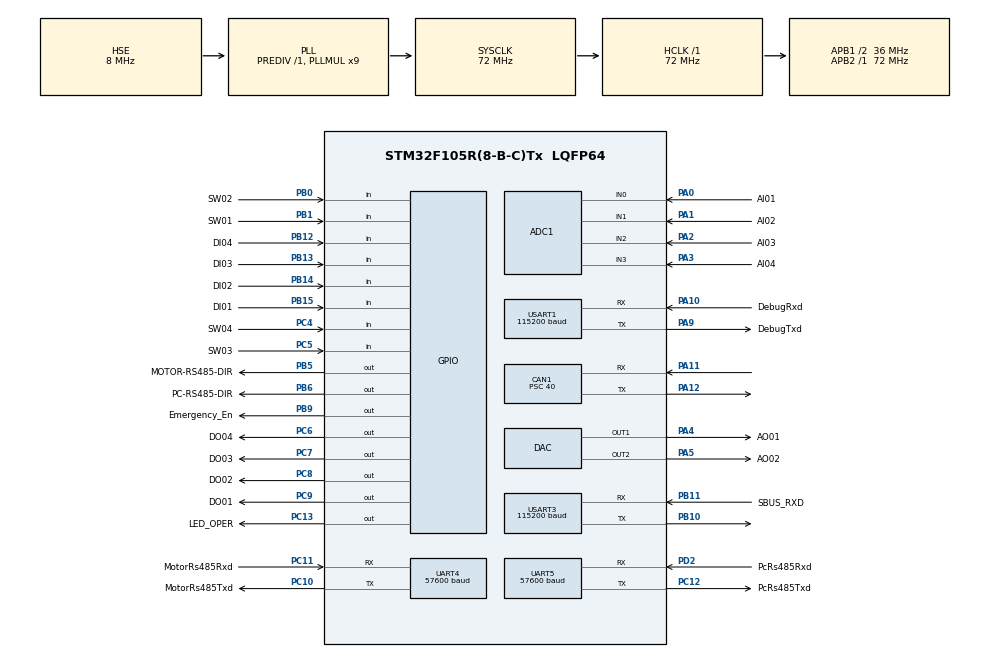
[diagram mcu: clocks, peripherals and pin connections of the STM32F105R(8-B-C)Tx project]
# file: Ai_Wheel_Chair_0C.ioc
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ADC1.Channel-0\#ChannelRegularConversion=ADC_CHANNEL_0
ADC1.Channel-1\#ChannelRegularConversion=ADC_CHANNEL_1
ADC1.Channel-2\#ChannelRegularConversion=ADC_CHANNEL_2
ADC1.Channel-3\#ChannelRegularConversion=ADC_CHANNEL_3
ADC1.ContinuousConvMode=DISABLE
ADC1.DiscontinuousConvMode=ENABLE
ADC1.NbrOfConversion=4
ADC1.NbrOfConversionFlag=1
ADC1.Rank-0\#ChannelRegularConversion=1
ADC1.Rank-1\#ChannelRegularConversion=2
ADC1.Rank-2\#ChannelRegularConversion=3
ADC1.Rank-3\#ChannelRegularConversion=4
ADC1.SamplingTime-0\#ChannelRegularConversion=ADC_SAMPLETIME_13CYCLES_5
ADC1.SamplingTime-1\#ChannelRegularConversion=ADC_SAMPLETIME_13CYCLES_5
ADC1.SamplingTime-2\#ChannelRegularConversion=ADC_SAMPLETIME_13CYCLES_5
ADC1.SamplingTime-3\#ChannelRegularConversion=ADC_SAMPLETIME_13CYCLES_5
ADC1.master=1
CAN1.BS1=CAN_BS1_15TQ
CAN1.BS2=CAN_BS2_2TQ
CAN1.CalculateBaudRate=50000
CAN1.CalculateTimeBit=20000
CAN1.CalculateTimeQuantum=1111.111111111111
CAN1.Prescaler=40
Mcu.Family=STM32F1
Mcu.Name=STM32F105R(8-B-C)Tx
Mcu.Package=LQFP64
NVIC.CAN1_RX0_IRQn=true\:0\:0\:false\:false\:true\:true\:true\:true
NVIC.CAN1_TX_IRQn=true\:0\:0\:false\:false\:true\:true\:true\:true
NVIC.PriorityGroup=NVIC_PRIORITYGROUP_4
NVIC.TIM6_IRQn=true\:0\:0\:false\:false\:true\:true\:true\:true
NVIC.UART4_IRQn=true\:0\:0\:false\:false\:true\:true\:true\:true
NVIC.UART5_IRQn=true\:0\:0\:false\:false\:true\:true\:true\:true
NVIC.USART1_IRQn=true\:0\:0\:false\:false\:true\:true\:true\:true
NVIC.USART3_IRQn=true\:0\:0\:false\:false\:true\:true\:true\:true
PA0-WKUP.GPIO_Label=AI01
PA0-WKUP.Signal=ADCx_IN0
PA1.GPIO_Label=AI02
PA1.Signal=ADCx_IN1
PA10.GPIO_Label=DebugRxd
PA10.Mode=Asynchronous
PA10.Signal=USART1_RX
PA11.Mode=CAN_Activate
PA11.Signal=CAN1_RX
PA12.Mode=CAN_Activate
PA12.Signal=CAN1_TX
PA2.GPIO_Label=AI03
PA2.Signal=ADCx_IN2
PA3.GPIO_Label=AI04
PA3.Signal=ADCx_IN3
PA4.GPIO_Label=AO01
PA4.Signal=COMP_DAC1_group
PA5.GPIO_Label=AO02
PA5.Signal=COMP_DAC2_group
PA9.GPIO_Label=DebugTxd
PA9.Mode=Asynchronous
PA9.Signal=USART1_TX
PB0.GPIO_Label=SW02
PB0.GPIO_PuPd=GPIO_PULLUP
PB0.Signal=GPIO_Input
PB1.GPIO_Label=SW01
PB1.GPIO_PuPd=GPIO_PULLUP
PB1.Signal=GPIO_Input
PB10.Mode=Asynchronous
PB10.Signal=USART3_TX
PB11.GPIO_Label=SBUS_RXD
PB11.Mode=Asynchronous
PB11.Signal=USART3_RX
PB12.GPIO_Label=DI04
PB12.GPIO_PuPd=GPIO_PULLUP
PB12.Signal=GPIO_Input
PB13.GPIO_Label=DI03
PB13.GPIO_PuPd=GPIO_PULLUP
PB13.Signal=GPIO_Input
PB14.GPIO_Label=DI02
PB14.GPIO_PuPd=GPIO_PULLUP
PB14.Signal=GPIO_Input
PB15.GPIO_Label=DI01
PB15.GPIO_PuPd=GPIO_PULLUP
PB15.Signal=GPIO_Input
PB5.GPIO_Label=MOTOR-RS485-DIR
PB5.GPIO_PuPd=GPIO_NOPULL
PB5.Signal=GPIO_Output
PB6.GPIO_Label=PC-RS485-DIR
PB6.Signal=GPIO_Output
PB9.GPIO_Label=Emergency_En
PB9.Signal=GPIO_Output
PC10.GPIO_Label=MotorRs485Txd
PC10.Mode=Asynchronous
PC10.Signal=UART4_TX
PC11.GPIO_Label=MotorRs485Rxd
PC11.Mode=Asynchronous
PC11.Signal=UART4_RX
PC12.GPIO_Label=PcRs485Txd
PC12.Mode=Asynchronous
PC12.Signal=UART5_TX
PC13-TAMPER-RTC.GPIO_Label=LED_OPER
PC13-TAMPER-RTC.Signal=GPIO_Output
PC4.GPIO_Label=SW04
PC4.GPIO_PuPd=GPIO_PULLUP
PC4.Signal=GPIO_Input
PC5.GPIO_Label=SW03
PC5.GPIO_PuPd=GPIO_PULLUP
PC5.Signal=GPIO_Input
PC6.GPIO_Label=DO04
PC6.GPIO_PuPd=GPIO_PULLDOWN
PC6.PinState=GPIO_PIN_SET
PC6.Signal=GPIO_Output
PC7.GPIO_Label=DO03
PC7.GPIO_PuPd=GPIO_PULLDOWN
PC7.PinState=GPIO_PIN_SET
PC7.Signal=GPIO_Output
PC8.GPIO_Label=DO02
PC8.GPIO_PuPd=GPIO_PULLDOWN
PC8.PinState=GPIO_PIN_SET
PC8.Signal=GPIO_Output
PC9.GPIO_Label=DO01
PC9.GPIO_PuPd=GPIO_PULLDOWN
PC9.PinState=GPIO_PIN_SET
PC9.Signal=GPIO_Output
PD0-OSC_IN.Mode=HSE-External-Oscillator
PD0-OSC_IN.Signal=RCC_OSC_IN
PD1-OSC_OUT.Mode=HSE-External-Oscillator
PD1-OSC_OUT.Signal=RCC_OSC_OUT
PD2.GPIO_Label=PcRs485Rxd
PD2.Mode=Asynchronous
PD2.Signal=UART5_RX
ProjectManager.HeapSize=0x200
ProjectManager.StackSize=0x400
ProjectManager.TargetToolchain=MDK-ARM V5
RCC.AHBFreq_Value=72000000
RCC.APB1CLKDivider=RCC_HCLK_DIV2
RCC.APB1Freq_Value=36000000
RCC.APB1TimFreq_Value=72000000
RCC.APB2Freq_Value=72000000
RCC.APB2TimFreq_Value=72000000
RCC.HCLKFreq_Value=72000000
RCC.PLLMUL=RCC_PLL_MUL9
RCC.PLLSourceVirtual=RCC_PLLSOURCE_HSE
RCC.SYSCLKFreq_VALUE=72000000
RCC.SYSCLKSource=RCC_SYSCLKSOURCE_PLLCLK
RCC.USBFreq_Value=48000000
SH.ADCx_IN0.0=ADC1_IN0,IN0
SH.ADCx_IN1.0=ADC1_IN1,IN1
SH.ADCx_IN2.0=ADC1_IN2,IN2
SH.ADCx_IN3.0=ADC1_IN3,IN3
SH.COMP_DAC1_group.0=DAC_OUT1,DAC_OUT1
SH.COMP_DAC2_group.0=DAC_OUT2,DAC_OUT2
TIM6.Period=100-1
TIM6.Prescaler=3600
UART4.BaudRate=57600
UART4.Parity=PARITY_EVEN
UART4.StopBits=UART_STOPBITS_1
UART4.VirtualMode=Asynchronous
UART4.WordLength=WORDLENGTH_9B
UART5.BaudRate=57600
UART5.Mode=MODE_RX
UART5.Parity=PARITY_NONE
UART5.StopBits=UART_STOPBITS_1
UART5.VirtualMode=Asynchronous
UART5.WordLength=WORDLENGTH_8B
USART1.BaudRate=115200
USART1.VirtualMode=VM_ASYNC
USART1.WordLength=WORDLENGTH_9B
USART3.BaudRate=115200
USART3.Parity=PARITY_NONE
USART3.StopBits=STOPBITS_1
USART3.VirtualMode=VM_ASYNC
USART3.WordLength=WORDLENGTH_9B
VP_SYS_VS_ND.Mode=No_Debug
VP_TIM6_VS_ClockSourceINT.Mode=Enable_Timer
board=custom

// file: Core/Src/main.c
/* USER CODE BEGIN Header */
/**
  ******************************************************************************
  * @file           : main.c
  * @brief          : Main program body
  ******************************************************************************
  * @attention
  *
  * Copyright (c) 2023 STMicroelectronics.
  * All rights reserved.
  *
  * This software is licensed under terms that can be found in the LICENSE file
  * in the root directory of this software component.
  * If no LICENSE file comes with this software, it is provided AS-IS.
  *
  ******************************************************************************
  */
/* USER CODE END Header */
#include "main.h"
#include "adc.h"
#include "can.h"
#include "dac.h"
#include "tim.h"
#include "usart.h"
#include "gpio.h"

/* USER CODE BEGIN Includes */
#include <stdio.h>

/* USER CODE END Includes */

/* USER CODE BEGIN PM */
#ifdef __GNUC__
  /* With GCC/RAISONANCE, small printf (option LD Linker->Libraries->Small printf
     set to 'Yes') calls __io_putchar() */
  #define PUTCHAR_PROTOTYPE int __io_putchar(int ch)
#else
  #define PUTCHAR_PROTOTYPE int fputc(int ch, FILE *f)
#endif /* __GNUC__ */
/**
  * @brief  Retargets the C library printf function to the USART.
  * @param  None
  * @retval None
  */
PUTCHAR_PROTOTYPE
{
  /* Place your implementation of fputc here */
  /* e.g. write a character to the EVAL_COM1 and Loop until the end of transmission */
  HAL_UART_Transmit(&huart1, (uint8_t *)&ch, 1, 0xFFFF);

  return ch;
}
/* USER CODE END PM */

/* USER CODE BEGIN PV */
SerialType serialtype;
RemoteType remotetype;
LocalMode localmode;
AutoRemoteMode autoremotemode;
/* USER CODE END PV */

void SystemClock_Config(void);

/* USER CODE BEGIN 0 */
int __io_putchar (int ch)
{
  (void)HAL_UART_Transmit(&huart1, (uint8_t *)&ch, 1, 100);
  return ch;
}
/* USER CODE END 0 */

int main(void)
{

  /* MCU Configuration--------------------------------------------------------*/

  /* Reset of all peripherals, Initializes the Flash interface and the Systick. */
  HAL_Init();

  /* Configure the system clock */
  SystemClock_Config();

  /* Initialize all configured peripherals */
  MX_GPIO_Init();
  MX_CAN1_Init();
  MX_UART4_Init();
  MX_UART5_Init();
  MX_USART1_UART_Init();
  MX_USART3_UART_Init();
  MX_TIM6_Init();
  MX_ADC1_Init();
  MX_DAC_Init();
  /* USER CODE BEGIN 2 */
  HAL_TIM_Base_Start_IT(&htim6);
  HAL_UART_Receive_IT (&huart1, &buff, 1);
  HAL_UART_Receive_IT (&huart3, &buff, 1);
  HAL_UART_Receive_IT (&huart4, &buff, 1);
  HAL_UART_Receive_IT (&huart5, &buff, 1);
  Usart_Init();
  Can_Initial();
  /* USER CODE END 2 */

  /* Infinite loop */
  while (1)
  {

    /* USER CODE BEGIN 3 */
	  serialtype.bSerialType = SW01;
	  remotetype.bRemoteType = SW04;
		localmode.bLocalMode = !DI01;
		autoremotemode.bAutoRemoteMode = !DI02;

	  //?��리얼 ?��?��?��
	  DataGetFlowProcess(COM1);
	  DataGetFlowProcess(COM3);
	  DataGetFlowProcess(COM4);
	  DataGetFlowProcess(COM5);

		//printf("4");
	  GetADCFlowProcess();
		//printf("5");

  }
  /* USER CODE END 3 */
}

void SystemClock_Config(void)
{
  RCC_OscInitTypeDef RCC_OscInitStruct = {0};
  RCC_ClkInitTypeDef RCC_ClkInitStruct = {0};
  RCC_PeriphCLKInitTypeDef PeriphClkInit = {0};

  /** Initializes the RCC Oscillators according to the specified parameters
  * in the RCC_OscInitTypeDef structure.
  */
  RCC_OscInitStruct.OscillatorType = RCC_OSCILLATORTYPE_HSE;
  RCC_OscInitStruct.HSEState = RCC_HSE_ON;
  RCC_OscInitStruct.HSEPredivValue = RCC_HSE_PREDIV_DIV1;
  RCC_OscInitStruct.HSIState = RCC_HSI_ON;
  RCC_OscInitStruct.Prediv1Source = RCC_PREDIV1_SOURCE_HSE;
  RCC_OscInitStruct.PLL.PLLState = RCC_PLL_ON;
  RCC_OscInitStruct.PLL.PLLSource = RCC_PLLSOURCE_HSE;
  RCC_OscInitStruct.PLL.PLLMUL = RCC_PLL_MUL9;
  RCC_OscInitStruct.PLL2.PLL2State = RCC_PLL_NONE;
  if (HAL_RCC_OscConfig(&RCC_OscInitStruct) != HAL_OK)
  {
    Error_Handler();
  }

  /** Initializes the CPU, AHB and APB buses clocks
  */
  RCC_ClkInitStruct.ClockType = RCC_CLOCKTYPE_HCLK|RCC_CLOCKTYPE_SYSCLK
                              |RCC_CLOCKTYPE_PCLK1|RCC_CLOCKTYPE_PCLK2;
  RCC_ClkInitStruct.SYSCLKSource = RCC_SYSCLKSOURCE_PLLCLK;
  RCC_ClkInitStruct.AHBCLKDivider = RCC_SYSCLK_DIV1;
  RCC_ClkInitStruct.APB1CLKDivider = RCC_HCLK_DIV2;
  RCC_ClkInitStruct.APB2CLKDivider = RCC_HCLK_DIV1;

  if (HAL_RCC_ClockConfig(&RCC_ClkInitStruct, FLASH_LATENCY_2) != HAL_OK)
  {
    Error_Handler();
  }
  PeriphClkInit.PeriphClockSelection = RCC_PERIPHCLK_ADC;
  PeriphClkInit.AdcClockSelection = RCC_ADCPCLK2_DIV2;
  if (HAL_RCCEx_PeriphCLKConfig(&PeriphClkInit) != HAL_OK)
  {
    Error_Handler();
  }

  /** Configure the Systick interrupt time
  */
  __HAL_RCC_PLLI2S_ENABLE();
}

void Error_Handler(void)
{
  __disable_irq();
  while (1)
  {
  }
}
